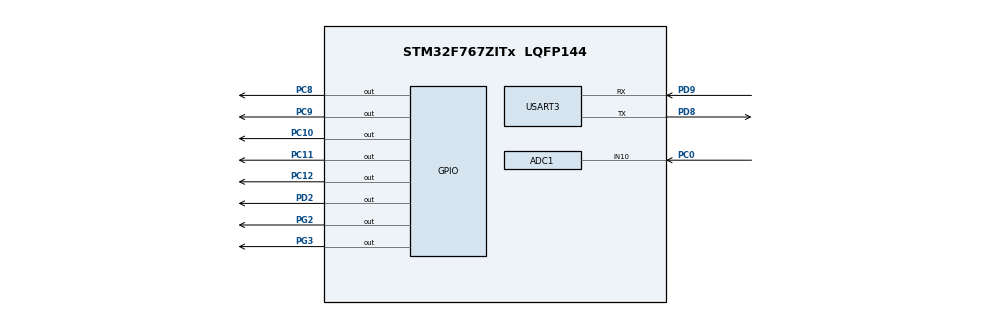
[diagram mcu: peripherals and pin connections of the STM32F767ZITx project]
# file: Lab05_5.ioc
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ADC1.Channel-0\#ChannelRegularConversion=ADC_CHANNEL_10
ADC1.ContinuousConvMode=ENABLE
ADC1.EOCSelection=ADC_EOC_SEQ_CONV
ADC1.NbrOfConversionFlag=1
ADC1.Rank-0\#ChannelRegularConversion=1
ADC1.SamplingTime-0\#ChannelRegularConversion=ADC_SAMPLETIME_3CYCLES
ADC1.master=1
Mcu.Family=STM32F7
Mcu.Name=STM32F767ZITx
Mcu.Package=LQFP144
NVIC.PriorityGroup=NVIC_PRIORITYGROUP_4
PC0.Signal=ADCx_IN10
PC10.Signal=GPIO_Output
PC11.Signal=GPIO_Output
PC12.Signal=GPIO_Output
PC8.Signal=GPIO_Output
PC9.Signal=GPIO_Output
PD2.Signal=GPIO_Output
PD8.Mode=Asynchronous
PD8.Signal=USART3_TX
PD9.Mode=Asynchronous
PD9.Signal=USART3_RX
PG2.Signal=GPIO_Output
PG3.Signal=GPIO_Output
ProjectManager.HeapSize=0x200
ProjectManager.StackSize=0x400
ProjectManager.TargetToolchain=STM32CubeIDE
RCC.HSE_VALUE=25000000
RCC.HSI_VALUE=16000000
RCC.LSE_VALUE=32768
RCC.USBFreq_Value=96000000
RCC.VCOOutputFreq_Value=192000000
SH.ADCx_IN10.0=ADC1_IN10,IN10
USART3.VirtualMode-Asynchronous=VM_ASYNC
board=custom

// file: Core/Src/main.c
/* USER CODE BEGIN Header */
/**
  ******************************************************************************
  * @file           : main.c
  * @brief          : Main program body
  ******************************************************************************
  * @attention
  *
  * Copyright (c) 2022 STMicroelectronics.
  * All rights reserved.
  *
  * This software is licensed under terms that can be found in the LICENSE file
  * in the root directory of this software component.
  * If no LICENSE file comes with this software, it is provided AS-IS.
  *
  ******************************************************************************
  */
/* USER CODE END Header */
#include "main.h"

/* USER CODE BEGIN Includes */
#include "stdio.h"
#include "string.h"
/* USER CODE END Includes */

ADC_HandleTypeDef hadc1;

UART_HandleTypeDef huart3;

/* USER CODE BEGIN PV */
volatile uint32_t adc_val = 0;
volatile uint32_t adc_avg_8 = 0;
volatile uint32_t adc_avg_16 = 0;
float ledstate1 = 3.3*1/5;
float ledstate2 = 3.3*2/5;
float ledstate3 = 3.3*3/5;
float ledstate4 = 3.3*4/5;
float ledstate5 = 3.3*5/5;
/* USER CODE END PV */

void SystemClock_Config(void);
static void MX_GPIO_Init(void);
static void MX_USART3_UART_Init(void);
static void MX_ADC1_Init(void);
/* USER CODE BEGIN PFP */
void displayHEX(uint32_t);
/* USER CODE END PFP */

int main(void)
{

  /* MCU Configuration--------------------------------------------------------*/

  /* Reset of all peripherals, Initializes the Flash interface and the Systick. */
  HAL_Init();

  /* Configure the system clock */
  SystemClock_Config();

  /* Initialize all configured peripherals */
  MX_GPIO_Init();
  MX_USART3_UART_Init();
  MX_ADC1_Init();
  /* USER CODE BEGIN 2 */
  HAL_ADC_Start(&hadc1);
  /* USER CODE END 2 */

  /* Infinite loop */
  while (1)
  {

    /* USER CODE BEGIN 3 */

	  while (HAL_ADC_PollForConversion(&hadc1, 100) != HAL_OK){}
	  adc_val = HAL_ADC_GetValue(&hadc1);
	  adc_avg_8 = average_8(adc_val);
	  adc_avg_16 = average_16(adc_val);
	  displayHEX(adc_val);
	  HAL_Delay(400);
  }
  /* USER CODE END 3 */
}

void SystemClock_Config(void)
{
  RCC_OscInitTypeDef RCC_OscInitStruct = {0};
  RCC_ClkInitTypeDef RCC_ClkInitStruct = {0};

  /** Configure the main internal regulator output voltage
  */
  __HAL_RCC_PWR_CLK_ENABLE();
  __HAL_PWR_VOLTAGESCALING_CONFIG(PWR_REGULATOR_VOLTAGE_SCALE3);

  /** Initializes the RCC Oscillators according to the specified parameters
  * in the RCC_OscInitTypeDef structure.
  */
  RCC_OscInitStruct.OscillatorType = RCC_OSCILLATORTYPE_HSI;
  RCC_OscInitStruct.HSIState = RCC_HSI_ON;
  RCC_OscInitStruct.HSICalibrationValue = RCC_HSICALIBRATION_DEFAULT;
  RCC_OscInitStruct.PLL.PLLState = RCC_PLL_NONE;
  if (HAL_RCC_OscConfig(&RCC_OscInitStruct) != HAL_OK)
  {
    Error_Handler();
  }

  /** Initializes the CPU, AHB and APB buses clocks
  */
  RCC_ClkInitStruct.ClockType = RCC_CLOCKTYPE_HCLK|RCC_CLOCKTYPE_SYSCLK
                              |RCC_CLOCKTYPE_PCLK1|RCC_CLOCKTYPE_PCLK2;
  RCC_ClkInitStruct.SYSCLKSource = RCC_SYSCLKSOURCE_HSI;
  RCC_ClkInitStruct.AHBCLKDivider = RCC_SYSCLK_DIV1;
  RCC_ClkInitStruct.APB1CLKDivider = RCC_HCLK_DIV1;
  RCC_ClkInitStruct.APB2CLKDivider = RCC_HCLK_DIV1;

  if (HAL_RCC_ClockConfig(&RCC_ClkInitStruct, FLASH_LATENCY_0) != HAL_OK)
  {
    Error_Handler();
  }
}

static void MX_ADC1_Init(void)
{

  ADC_ChannelConfTypeDef sConfig = {0};

  /** Configure the global features of the ADC (Clock, Resolution, Data Alignment and number of conversion)
  */
  hadc1.Instance = ADC1;
  hadc1.Init.ClockPrescaler = ADC_CLOCK_SYNC_PCLK_DIV2;
  hadc1.Init.Resolution = ADC_RESOLUTION_12B;
  hadc1.Init.ScanConvMode = ADC_SCAN_DISABLE;
  hadc1.Init.ContinuousConvMode = ENABLE;
  hadc1.Init.DiscontinuousConvMode = DISABLE;
  hadc1.Init.ExternalTrigConvEdge = ADC_EXTERNALTRIGCONVEDGE_NONE;
  hadc1.Init.ExternalTrigConv = ADC_SOFTWARE_START;
  hadc1.Init.DataAlign = ADC_DATAALIGN_RIGHT;
  hadc1.Init.NbrOfConversion = 1;
  hadc1.Init.DMAContinuousRequests = DISABLE;
  hadc1.Init.EOCSelection = ADC_EOC_SEQ_CONV;
  if (HAL_ADC_Init(&hadc1) != HAL_OK)
  {
    Error_Handler();
  }

  /** Configure for the selected ADC regular channel its corresponding rank in the sequencer and its sample time.
  */
  sConfig.Channel = ADC_CHANNEL_10;
  sConfig.Rank = ADC_REGULAR_RANK_1;
  sConfig.SamplingTime = ADC_SAMPLETIME_3CYCLES;
  if (HAL_ADC_ConfigChannel(&hadc1, &sConfig) != HAL_OK)
  {
    Error_Handler();
  }

}

static void MX_USART3_UART_Init(void)
{

  huart3.Instance = USART3;
  huart3.Init.BaudRate = 115200;
  huart3.Init.WordLength = UART_WORDLENGTH_8B;
  huart3.Init.StopBits = UART_STOPBITS_1;
  huart3.Init.Parity = UART_PARITY_NONE;
  huart3.Init.Mode = UART_MODE_TX_RX;
  huart3.Init.HwFlowCtl = UART_HWCONTROL_NONE;
  huart3.Init.OverSampling = UART_OVERSAMPLING_16;
  huart3.Init.OneBitSampling = UART_ONE_BIT_SAMPLE_DISABLE;
  huart3.AdvancedInit.AdvFeatureInit = UART_ADVFEATURE_NO_INIT;
  if (HAL_UART_Init(&huart3) != HAL_OK)
  {
    Error_Handler();
  }

}

static void MX_GPIO_Init(void)
{
  GPIO_InitTypeDef GPIO_InitStruct = {0};

  /* GPIO Ports Clock Enable */
  __HAL_RCC_GPIOC_CLK_ENABLE();
  __HAL_RCC_GPIOD_CLK_ENABLE();
  __HAL_RCC_GPIOG_CLK_ENABLE();

  /*Configure GPIO pin Output Level */
  HAL_GPIO_WritePin(GPIOG, GPIO_PIN_2|GPIO_PIN_3, GPIO_PIN_RESET);

  /*Configure GPIO pin Output Level */
  HAL_GPIO_WritePin(GPIOC, GPIO_PIN_8|GPIO_PIN_9|GPIO_PIN_10|GPIO_PIN_11
                          |GPIO_PIN_12, GPIO_PIN_RESET);

  /*Configure GPIO pin Output Level */
  HAL_GPIO_WritePin(GPIOD, GPIO_PIN_2, GPIO_PIN_RESET);

  /*Configure GPIO pins : PG2 PG3 */
  GPIO_InitStruct.Pin = GPIO_PIN_2|GPIO_PIN_3;
  GPIO_InitStruct.Mode = GPIO_MODE_OUTPUT_PP;
  GPIO_InitStruct.Pull = GPIO_NOPULL;
  GPIO_InitStruct.Speed = GPIO_SPEED_FREQ_LOW;
  HAL_GPIO_Init(GPIOG, &GPIO_InitStruct);

  /*Configure GPIO pins : PC8 PC9 PC10 PC11
                           PC12 */
  GPIO_InitStruct.Pin = GPIO_PIN_8|GPIO_PIN_9|GPIO_PIN_10|GPIO_PIN_11
                          |GPIO_PIN_12;
  GPIO_InitStruct.Mode = GPIO_MODE_OUTPUT_PP;
  GPIO_InitStruct.Pull = GPIO_NOPULL;
  GPIO_InitStruct.Speed = GPIO_SPEED_FREQ_LOW;
  HAL_GPIO_Init(GPIOC, &GPIO_InitStruct);

  /*Configure GPIO pin : PD2 */
  GPIO_InitStruct.Pin = GPIO_PIN_2;
  GPIO_InitStruct.Mode = GPIO_MODE_OUTPUT_PP;
  GPIO_InitStruct.Pull = GPIO_NOPULL;
  GPIO_InitStruct.Speed = GPIO_SPEED_FREQ_LOW;
  HAL_GPIO_Init(GPIOD, &GPIO_InitStruct);

}

/* USER CODE BEGIN 4 */
void displayHEX(uint32_t hex1)
{
	char str[32];
	float vin = (float)hex1/4095.0*3.3;
	if (vin >= 0 && vin <= ledstate1)
		{
			HAL_GPIO_WritePin(GPIOC, GPIO_PIN_8, 1);
			HAL_GPIO_WritePin(GPIOC, GPIO_PIN_9, 1);
			HAL_GPIO_WritePin(GPIOC, GPIO_PIN_10, 1);
			HAL_GPIO_WritePin(GPIOC, GPIO_PIN_11, 1);
		}
		else if (vin > ledstate1 && vin <= ledstate2)
		{
			HAL_GPIO_WritePin(GPIOC, GPIO_PIN_8, 0);
			HAL_GPIO_WritePin(GPIOC, GPIO_PIN_9, 1);
			HAL_GPIO_WritePin(GPIOC, GPIO_PIN_10, 1);
			HAL_GPIO_WritePin(GPIOC, GPIO_PIN_11, 1);
		}
		else if (vin > ledstate2 && vin <= ledstate3)
		{
			HAL_GPIO_WritePin(GPIOC, GPIO_PIN_8, 0);
			HAL_GPIO_WritePin(GPIOC, GPIO_PIN_9, 0);
			HAL_GPIO_WritePin(GPIOC, GPIO_PIN_10, 1);
			HAL_GPIO_WritePin(GPIOC, GPIO_PIN_11, 1);
		}
		else if (vin > ledstate3 && vin <= ledstate4)
		{
			HAL_GPIO_WritePin(GPIOC, GPIO_PIN_8, 0);
			HAL_GPIO_WritePin(GPIOC, GPIO_PIN_9, 0);
			HAL_GPIO_WritePin(GPIOC, GPIO_PIN_10, 0);
			HAL_GPIO_WritePin(GPIOC, GPIO_PIN_11, 1);
		}
		else if (vin > ledstate4 && vin <= ledstate5)
		{
			HAL_GPIO_WritePin(GPIOC, GPIO_PIN_8, 0);
			HAL_GPIO_WritePin(GPIOC, GPIO_PIN_9, 0);
			HAL_GPIO_WritePin(GPIOC, GPIO_PIN_10, 0);
			HAL_GPIO_WritePin(GPIOC, GPIO_PIN_11, 0);
		}
	sprintf(str,"ADC1_CH10 0x%08X Vin = %.2f V\n\r",hex1,vin);
	while(__HAL_UART_GET_FLAG(&huart3,UART_FLAG_TC)==RESET){}
	HAL_UART_Transmit(&huart3, (uint8_t*) str, strlen(str),1000);

}
int average_8(int x)
{
	static int samples[8];
	static int i = 0;
	static int total = 0;

	total += x - samples[i];
	samples[i] = x;

	i = (i==7 ? 0 : i+1);

	return total>>3;
}
int average_16(int x) {
	static int samples[16];
	static int i = 0;
	static int total = 0;

	total += x - samples[i];
	samples[i] = x;

	i = (i==15 ? 0 : i+1);

	return total>>4;
}
/* USER CODE END 4 */

void Error_Handler(void)
{
  __disable_irq();
  while (1)
  {
  }
}
